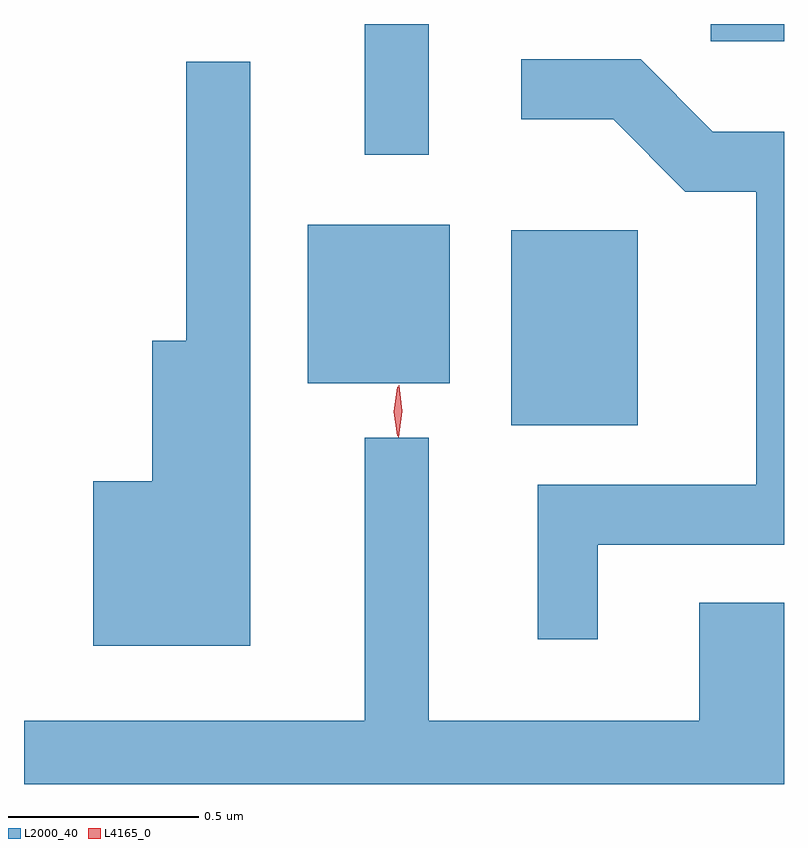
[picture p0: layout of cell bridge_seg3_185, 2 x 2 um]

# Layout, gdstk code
import gdstk
lib = gdstk.Library(unit=1e-6, precision=1e-09)
def R(c, l, rs):  # rectangles x0, y0, x1, y1
    for r in rs: c.add(gdstk.rectangle(r[:2], r[2:], *l))
def P(c, l, *ps):  # polygons
    for p in ps: c.add(gdstk.Polygon(p, *l))
L2000_40 = (2000, 40)
L4165_0 = (4165, 0)

bridge_seg3_185 = lib.new_cell('bridge_seg3_185')
R(bridge_seg3_185, L2000_40, [(889.426,1124.841,889.759,1125.354), (888.891,1124.951,889.264,1125.369), (889.041,1125.553,889.209,1125.897), (889.951,1125.851,890.144,1125.897)])
P(bridge_seg3_185, L2000_40, [(889.654,1124.526),(890.144,1124.526),(890.144,1125.614),(889.957,1125.614),(889.767,1125.804),(889.453,1125.804),(889.453,1125.646),(889.694,1125.646),(889.884,1125.456),(890.071,1125.456),(890.071,1124.684),(889.496,1124.684),(889.496,1124.278),(889.654,1124.278)],
  [(888.739,1125.798),(888.571,1125.798),(888.571,1125.064),(888.481,1125.064),(888.481,1124.694),(888.326,1124.694),(888.326,1124.261),(888.739,1124.261)],
  [(890.144,1124.374),(889.921,1124.374),(889.921,1124.064),(889.209,1124.064),(889.209,1124.808),(889.041,1124.808),(889.041,1124.064),(888.144,1124.064),(888.144,1123.897),(890.144,1123.897)])
P(bridge_seg3_185, L4165_0, [(889.126,1124.813),(889.117,1124.877),(889.126,1124.941),(889.127,1124.942),(889.128,1124.941),(889.137,1124.877),(889.128,1124.813),(889.127,1124.813)],
  [(889.129,1124.81),(889.12,1124.878),(889.13,1124.946),(889.13,1124.946),(889.131,1124.946),(889.14,1124.878),(889.13,1124.81),(889.13,1124.81)])

lib.write_gds('bridge_seg3_185.gds')
